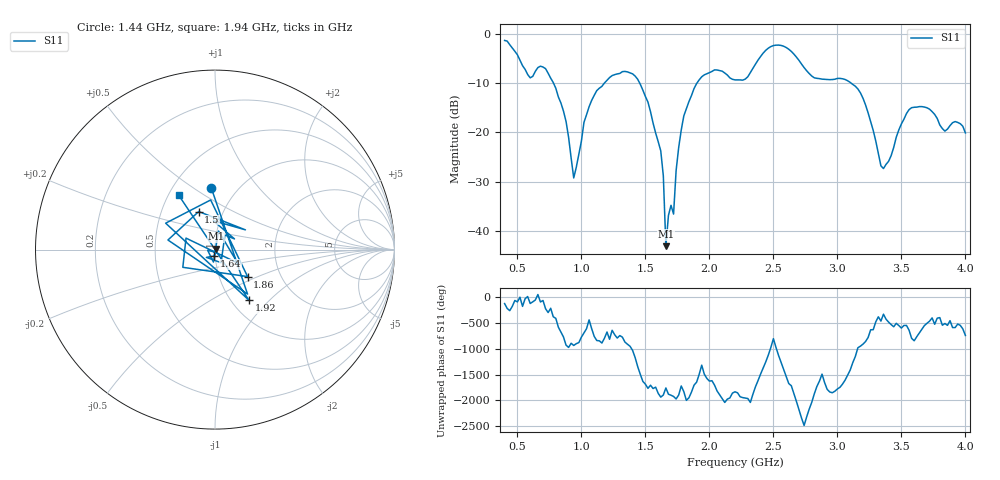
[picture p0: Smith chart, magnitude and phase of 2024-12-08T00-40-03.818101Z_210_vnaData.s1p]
!Created with skrf (http://scikit-rf.org).
# Hz S RI R 50.0
!freq ReS11 ImS11
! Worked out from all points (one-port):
!   181 points, 400 MHz to 4 GHz, reference 50 ohm
!   lowest |S11| = -43.1 dB at 1.66 GHz (marker M1), VSWR 1.01, Z = 50.5 + j0.456 ohm
!   |S11| at or under -10 dB: 781.5 MHz to 1.18 GHz (398.8 MHz wide, 40.7 % of centre); 1.455 GHz to 1.903 GHz (448.4 MHz wide, 26.7 % of centre); 3.106 GHz to end of sweep
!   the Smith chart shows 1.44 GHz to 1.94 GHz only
!   S11 on the Smith chart (normalised r, x): 1.44 GHz: 0.76, +0.59; 1.5 GHz: 0.77, +0.34; 1.64 GHz: 0.99, -0.07; 1.86 GHz: 1.36, -0.43; 1.92 GHz: 1.20, -0.77; 1.94 GHz: 0.56, +0.39
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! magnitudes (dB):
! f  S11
! 400 MHz  -1.4
! 600 MHz  -9.0
! 720 MHz  -7.1
! 860 MHz  -15.7
! 940 MHz  -29.3
! 1.02 GHz  -18.0
! 1.08 GHz  -13.5
! 1.3 GHz  -8.1
! 1.44 GHz  -9.3
! 1.5 GHz  -12.7
! 1.62 GHz  -23.8
! 1.64 GHz  -28.8
! 1.66 GHz  -43.1
! 1.68 GHz  -36.9
! 1.72 GHz  -36.6
! 1.76 GHz  -23.1
! 1.86 GHz  -12.6
! 1.92 GHz  -9.4
! 1.94 GHz  -8.7
! 2.2 GHz  -9.4
! 2.48 GHz  -2.6
! 2.66 GHz  -4.1
! 2.82 GHz  -9.0
! 3.1 GHz  -9.9
! 3.2 GHz  -13.1
! 3.36 GHz  -27.4
! 3.56 GHz  -15.4
! 4 GHz  -20.1
